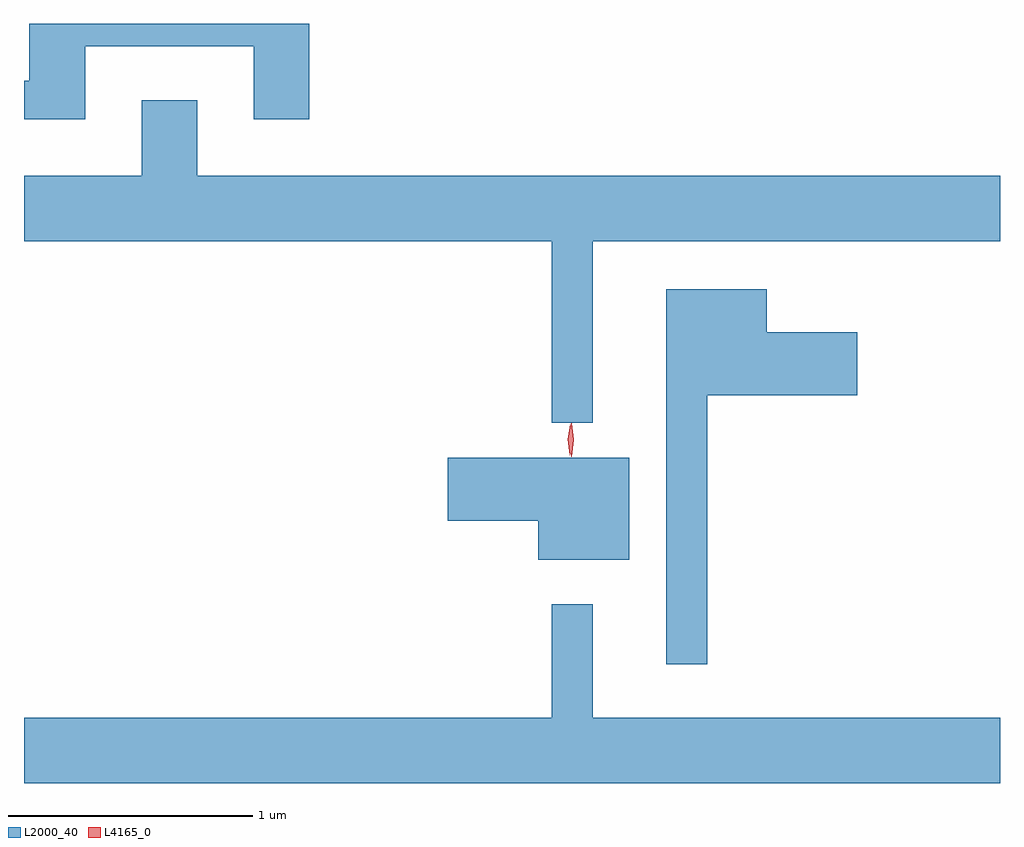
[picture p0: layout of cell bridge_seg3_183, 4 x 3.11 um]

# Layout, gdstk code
import gdstk
lib = gdstk.Library(unit=1e-6, precision=1e-09)
def P(c, l, *ps):  # polygons
    for p in ps: c.add(gdstk.Polygon(p, *l))
L2000_40 = (2000, 40)
L4165_0 = (4165, 0)

bridge_seg3_183 = lib.new_cell('bridge_seg3_183')
P(bridge_seg3_183, L2000_40, [(788.049,1182.316),(788.741,1182.316),(788.741,1182.016),(788.969,1182.016),(788.969,1182.407),(787.821,1182.407),(787.821,1182.174),(787.799,1182.174),(787.799,1182.016),(788.049,1182.016)],
  [(790.129,1181.516),(791.799,1181.516),(791.799,1181.784),(788.509,1181.784),(788.509,1182.094),(788.281,1182.094),(788.281,1181.784),(787.799,1181.784),(787.799,1181.516),(789.961,1181.516),(789.961,1180.773),(790.129,1180.773)],
  [(790.599,1180.886),(791.214,1180.886),(791.214,1181.144),(790.844,1181.144),(790.844,1181.319),(790.431,1181.319),(790.431,1179.783),(790.599,1179.783)],
  [(790.279,1180.629),(789.536,1180.629),(789.536,1180.371),(789.906,1180.371),(789.906,1180.211),(790.279,1180.211)],
  [(791.799,1179.564),(790.129,1179.564),(790.129,1180.028),(789.961,1180.028),(789.961,1179.564),(787.799,1179.564),(787.799,1179.296),(791.799,1179.296)])
P(bridge_seg3_183, L4165_0, [(790.042,1180.634),(790.033,1180.702),(790.042,1180.77),(790.043,1180.77),(790.043,1180.77),(790.053,1180.702),(790.043,1180.634),(790.043,1180.634)],
  [(790.036,1180.64),(790.036,1180.641),(790.027,1180.704),(790.037,1180.766),(790.038,1180.767),(790.038,1180.766),(790.047,1180.704),(790.036,1180.641)])

lib.write_gds('bridge_seg3_183.gds')
